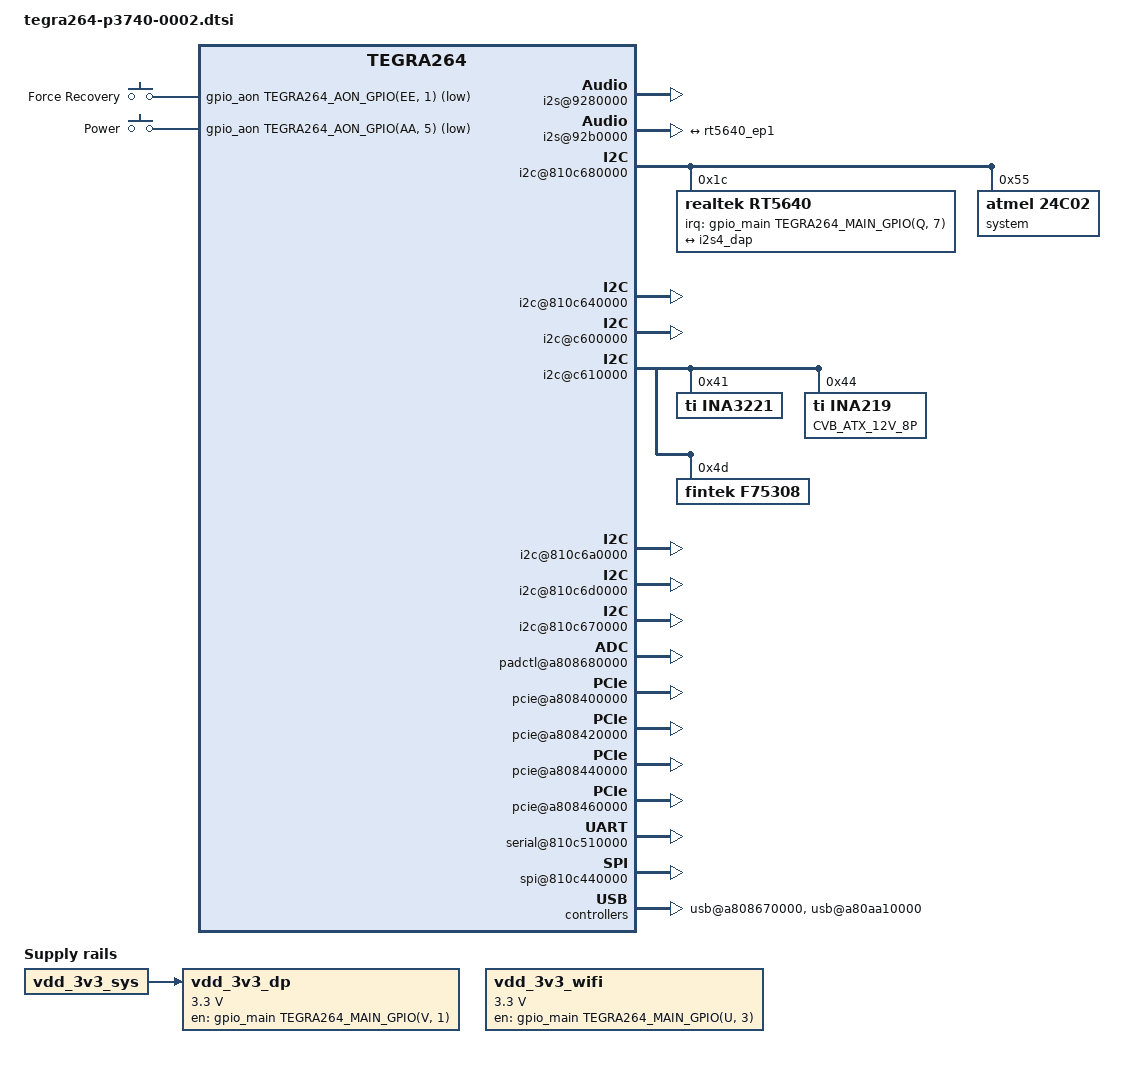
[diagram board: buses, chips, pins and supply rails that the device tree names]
// SPDX-License-Identifier: GPL-2.0
// SPDX-FileCopyrightText: Copyright (c) 2024-2025, NVIDIA CORPORATION & AFFILIATES.  All rights reserved.

#include <dt-bindings/input/linux-event-codes.h>
#include <dt-bindings/input/gpio-keys.h>
#include <dt-bindings/sound/rt5640.h>
#include "tegra264-p3740-0002-p3834-0008-dcb.dtsi"

/ {
	compatible = "nvidia,p3740-0002";

	bus@0 {
		aconnect@9000000 {
			status = "okay";

			dma-controller@9440000 {
				status = "okay";
			};

			ahub@9630000 {
				status = "okay";

				i2s@9280000 {
					status = "okay";
				};

				i2s@92b0000 {
					status = "okay";
					ports {
						port@1 {
							endpoint {
								dai-format = "i2s";
								remote-endpoint = <&rt5640_ep1>;
							};
						};
					};
				};
			};

			interrupt-controller@9960000 {
				status = "okay";
			};

		};

		hda@88090b0000 {
			nvidia,model = "NVIDIA Jetson Thor IGX HDA";
			status = "okay";
		};

		i2c@810c680000 {
			status = "okay";

			rt5640: audio-codec@1c {
				compatible = "realtek,rt5640";
				reg = <0x1c>;

				clocks = <&bpmp TEGRA264_CLK_AUD_MCLK>;
				clock-names = "mclk";

				realtek,dmic1-data-pin = <RT5640_DMIC1_DATA_PIN_NONE>;
				realtek,dmic2-data-pin = <RT5640_DMIC2_DATA_PIN_NONE>;
				realtek,jack-detect-source = <RT5640_JD_SRC_HDA_HEADER>;

				/* Codec IRQ output */
				interrupt-parent = <&gpio_main>;
				interrupts = <TEGRA264_MAIN_GPIO(Q, 7) GPIO_ACTIVE_HIGH>;

				sound-name-prefix = "CVB-RT";

				status = "okay";

				port {
					rt5640_ep1: endpoint {
						link-name = "rt5640-playback";
						remote-endpoint = <&i2s4_dap>;
						mclk-fs = <256>;
					};
				};
			};
		};

		i2c@810c640000 { /* I2C1 */
			status = "okay";
		};

		i2c@c600000 { /* I2C2 */
			status = "okay";
		};

		i2c@c610000 { /* I2C3 */
			status = "okay";

			ina3221@41 {
				compatible = "ti,ina3221";
				reg = <0x41>;
				#address-cells = <1>;
				#size-cells = <0>;
				channel@0 {
					reg = <0x0>;
					label = "CVB_ATX_12V";
					shunt-resistor-micro-ohms = <2000>;
				};
				channel@1 {
					reg = <0x1>;
					label = "CVB_ATX_3V3";
					shunt-resistor-micro-ohms = <2000>;
				};
				channel@2 {
					reg = <0x2>;
					label = "CVB_ATX_5V";
					shunt-resistor-micro-ohms = <2000>;
				};
			};

			ina219@44 {
				compatible = "ti,ina219";
				reg = <0x44>;
				shunt-resistor = <2000>;
				label = "CVB_ATX_12V_8P";
			};

			f75308@4d {
				compatible = "fintek,f75308";
				reg = <0x4d>;
				#address-cells = <1>;
				#size-cells = <0>;

				fan@0 {
					reg = <0x0>;
					type = "pwm";
					duty = "manual_duty";
					5seg = <100 80 60 40 20>;
				};

				fan@1 {
					reg = <0x1>;
					type = "pwm";
					duty = "manual_duty";
					5seg = <100 80 60 40 20>;
				};

				fan@2 {
					reg = <0x2>;
					type = "pwm";
					duty = "manual_duty";
					5seg = <100 80 60 40 20>;
				};

				fan@3 {
					reg = <0x3>;
					type = "pwm";
					duty = "manual_duty";
					5seg = <100 80 60 40 20>;
				};
			};
		};

		i2c@810c6a0000 { /* I2C9 */
			status = "okay";
		};

		i2c@810c6d0000 { /* I2C12 */
			status = "okay";
		};

		i2c@810c670000 { /* I2C6 */
			status = "okay";
		};

		i2c@810c680000 { /* I2C7 */
			status = "okay";

			/* carrier board ID EEPROM */
			eeprom@55 {
				compatible = "atmel,24c02";
				reg = <0x55>;
				label = "system";
				address-width = <8>;
				pagesize = <8>;
				size = <256>;
				read-only;
			};
		};

		padctl@a808680000 {
			status = "okay";

			pads {
				usb2 {
					lanes {
						usb2-0 {
							status = "okay";
						};

						usb2-1 {
							status = "okay";
						};

						usb2-2 {
							status = "okay";
						};

						usb2-3 {
							status = "okay";
						};
					};
				};

				usb3 {
					lanes {
						usb3-0 {
							status = "okay";
						};

						usb3-1 {
							status = "okay";
						};

						usb3-2 {
							status = "okay";
						};
					};
				};
			};

			ports {
				usb2-0 {
					mode = "peripheral";
					usb-role-switch;
					role-switch-default-mode = "peripheral";
					status = "okay";
				};

				usb2-1 {
					mode = "host";
					status = "okay";
				};

				usb2-2 {
					mode = "host";
					status = "okay";
				};

				usb2-3 {
					mode = "host";
					status = "okay";
				};

				usb3-0 {
					nvidia,usb2-companion = <1>;
					status = "okay";
				};

				usb3-1 {
					nvidia,usb2-companion = <2>;
					status = "okay";
				};

				usb3-2 {
					nvidia,usb2-companion = <0>;
					status = "okay";
				};
			};
		};

		/* PCIe C1 for M.2 Key E */
		pcie@a808400000 {
			status = "okay";
		};

		/* PCIe C2 for SATA */
		pcie@a808420000 {
			status = "okay";
		};

		/* PCIe C3 for M.2 NVME */
		pcie@a808440000 {
			status = "okay";
		};

		/* PCIe C4 for CX7 */
		pcie@a808460000 {
			status = "okay";
		};

		/* UART5/UARTF to M.2 E */
		serial@810c510000 {
			status = "okay";
		};

		spi@810c440000 {/* SPI3 */
			status = "okay";
		};

		tachometer@810c5c0000 {
			status = "okay";
		};

		usb@a808670000 {
			status = "okay";

			phys = <&{/bus@0/padctl@a808680000/pads/usb2/lanes/usb2-0}>,
				<&{/bus@0/padctl@a808680000/pads/usb3/lanes/usb3-2}>;
			phy-names = "usb2-0", "usb3-2";
		};

		usb@a80aa10000 {
			status = "okay";

			phys =	<&{/bus@0/padctl@a808680000/pads/usb2/lanes/usb2-1}>,
				<&{/bus@0/padctl@a808680000/pads/usb2/lanes/usb2-2}>,
				<&{/bus@0/padctl@a808680000/pads/usb2/lanes/usb2-3}>,
				<&{/bus@0/padctl@a808680000/pads/usb3/lanes/usb3-0}>,
				<&{/bus@0/padctl@a808680000/pads/usb3/lanes/usb3-1}>;
			phy-names = "usb2-1", "usb2-2", "usb2-3",
				"usb3-0", "usb3-1";
		};
	};

	gpio-keys {
		compatible = "gpio-keys";

		key-force-recovery {
			label = "Force Recovery";
			gpios = <&gpio_aon TEGRA264_AON_GPIO(EE, 1) GPIO_ACTIVE_LOW>;
			linux,input-type = <EV_KEY>;
			linux,code = <BTN_1>;
		};

		key-power {
			label = "Power";
			gpios = <&gpio_aon TEGRA264_AON_GPIO(AA, 5) GPIO_ACTIVE_LOW>;
			linux,input-type = <EV_KEY>;
			linux,code = <KEY_POWER>;
			wakeup-event-action = <EV_ACT_ASSERTED>;
			wakeup-source;
		};
	};

	eeprom-manager {
		bus@2 {
			i2c-bus = <&i2c7>;
			eeprom@0 {
				slave-address = <0x55>;
				label = "cvb";
			};
		};
	};

	vdd_3v3_dp: regulator-vdd-3v3-dp {
				compatible = "regulator-fixed";
				regulator-name = "VDD_3V3_DP";
				regulator-min-microvolt = <3300000>;
				regulator-max-microvolt = <3300000>;
				vin-supply = <&vdd_3v3_sys>;
				gpio = <&gpio_main TEGRA264_MAIN_GPIO(V, 1) 0>;
				enable-active-high;
				regulator-always-on;
	};

	vdd_3v3_sys: regulator-vdd-3v3-sys {
				regulator-name = "VDD_3V3_SYS";
				regulator-min-microvolt = <3300000>;
				regulator-max-microvolt = <3300000>;
	};

	vdd_3v3_wifi: regulator-vdd-3v3-wifi {
				compatible = "regulator-fixed";
				regulator-name = "VDD_3V3_WIFI";
				regulator-min-microvolt = <3300000>;
				regulator-max-microvolt = <3300000>;
				gpio = <&gpio_main TEGRA264_MAIN_GPIO(U, 3) GPIO_ACTIVE_HIGH>;
				regulator-boot-on;
				enable-active-high;
	};

	dce@8808000000 {
		status = "okay";
		sha-carveout {
		        status = "okay";
		};
	};

	display@8808c00000 {
		status = "okay";
		nvdisplay-niso {
			status = "okay";
		};
	};

	sound {
		status = "okay";

		dais = /* ADMAIF (FE) Ports */
			<&admaif0_port>, <&admaif1_port>, <&admaif2_port>, <&admaif3_port>,
			<&admaif4_port>, <&admaif5_port>, <&admaif6_port>, <&admaif7_port>,
			<&admaif8_port>, <&admaif9_port>, <&admaif10_port>, <&admaif11_port>,
			<&admaif12_port>, <&admaif13_port>, <&admaif14_port>, <&admaif15_port>,
			<&admaif16_port>, <&admaif17_port>, <&admaif18_port>, <&admaif19_port>,
			<&admaif20_port>, <&admaif21_port>, <&admaif22_port>, <&admaif23_port>,
			<&admaif24_port>, <&admaif25_port>, <&admaif26_port>, <&admaif27_port>,
			<&admaif28_port>, <&admaif29_port>, <&admaif30_port>, <&admaif31_port>,
			/* XBAR Ports */
			<&xbar_i2s1_port>, <&xbar_i2s4_port>,
			<&xbar_sfc1_in_port>, <&xbar_sfc2_in_port>,
			<&xbar_sfc3_in_port>, <&xbar_sfc4_in_port>,
			<&xbar_mvc1_in_port>, <&xbar_mvc2_in_port>,
			<&xbar_amx1_in1_port>, <&xbar_amx1_in2_port>,
			<&xbar_amx1_in3_port>, <&xbar_amx1_in4_port>,
			<&xbar_amx2_in1_port>, <&xbar_amx2_in2_port>,
			<&xbar_amx2_in3_port>, <&xbar_amx2_in4_port>,
			<&xbar_amx3_in1_port>, <&xbar_amx3_in2_port>,
			<&xbar_amx3_in3_port>, <&xbar_amx3_in4_port>,
			<&xbar_amx4_in1_port>, <&xbar_amx4_in2_port>,
			<&xbar_amx4_in3_port>, <&xbar_amx4_in4_port>,
			<&xbar_amx5_in1_port>, <&xbar_amx5_in2_port>,
			<&xbar_amx5_in3_port>, <&xbar_amx5_in4_port>,
			<&xbar_amx6_in1_port>, <&xbar_amx6_in2_port>,
			<&xbar_amx6_in3_port>, <&xbar_amx6_in4_port>,
			<&xbar_adx1_in_port>, <&xbar_adx2_in_port>,
			<&xbar_adx3_in_port>, <&xbar_adx4_in_port>,
			<&xbar_adx5_in_port>, <&xbar_adx6_in_port>,
			<&xbar_mix_in1_port>, <&xbar_mix_in2_port>,
			<&xbar_mix_in3_port>, <&xbar_mix_in4_port>,
			<&xbar_mix_in5_port>, <&xbar_mix_in6_port>,
			<&xbar_mix_in7_port>, <&xbar_mix_in8_port>,
			<&xbar_mix_in9_port>, <&xbar_mix_in10_port>,
			<&xbar_asrc_in1_port>, <&xbar_asrc_in2_port>,
			<&xbar_asrc_in3_port>, <&xbar_asrc_in4_port>,
			<&xbar_asrc_in5_port>, <&xbar_asrc_in6_port>,
			<&xbar_asrc_in7_port>,
			<&xbar_ope1_in_port>,
			/* HW accelerators */
			<&sfc1_out_port>, <&sfc2_out_port>,
			<&sfc3_out_port>, <&sfc4_out_port>,
			<&mvc1_out_port>, <&mvc2_out_port>,
			<&amx1_out_port>, <&amx2_out_port>,
			<&amx3_out_port>, <&amx4_out_port>,
			<&amx5_out_port>, <&amx6_out_port>,
			<&adx1_out1_port>, <&adx1_out2_port>,
			<&adx1_out3_port>, <&adx1_out4_port>,
			<&adx2_out1_port>, <&adx2_out2_port>,
			<&adx2_out3_port>, <&adx2_out4_port>,
			<&adx3_out1_port>, <&adx3_out2_port>,
			<&adx3_out3_port>, <&adx3_out4_port>,
			<&adx4_out1_port>, <&adx4_out2_port>,
			<&adx4_out3_port>, <&adx4_out4_port>,
			<&adx5_out1_port>, <&adx5_out2_port>,
			<&adx5_out3_port>, <&adx5_out4_port>,
			<&adx6_out1_port>, <&adx6_out2_port>,
			<&adx6_out3_port>, <&adx6_out4_port>,
			<&mix_out1_port>, <&mix_out2_port>, <&mix_out3_port>,
			<&mix_out4_port>, <&mix_out5_port>,
			<&asrc_out1_port>, <&asrc_out2_port>, <&asrc_out3_port>,
			<&asrc_out4_port>, <&asrc_out5_port>, <&asrc_out6_port>,
			<&ope1_out_port>,
			/* BE I/O Ports */
			<&i2s1_port>, <&i2s4_port> ;

		label = "NVIDIA Jetson Thor IGX APE";

		widgets = "Headphone",  "CVB-RT HP Jack",
			  "Microphone", "CVB-RT MIC Jack",
			  "Speaker",    "CVB-RT Int Spk";

		routing = /* Enable I2S4 <-> RT5640 */
			  "CVB-RT AIF1 Playback",	"I2S4 DAP-Playback",
			  "I2S4 DAP-Capture",		"CVB-RT AIF1 Capture",
			  /* RT5640 codec controls */
			  "CVB-RT HP Jack",             "CVB-RT HPOL",
			  "CVB-RT HP Jack",             "CVB-RT HPOR",
			  "CVB-RT IN1P",                "CVB-RT MIC Jack",
			  "CVB-RT IN3P",                "CVB-RT MIC Jack",
			  "CVB-RT Int Spk",             "CVB-RT LOUTL",
			  "CVB-RT Int Spk",             "CVB-RT LOUTR";
	};
};
